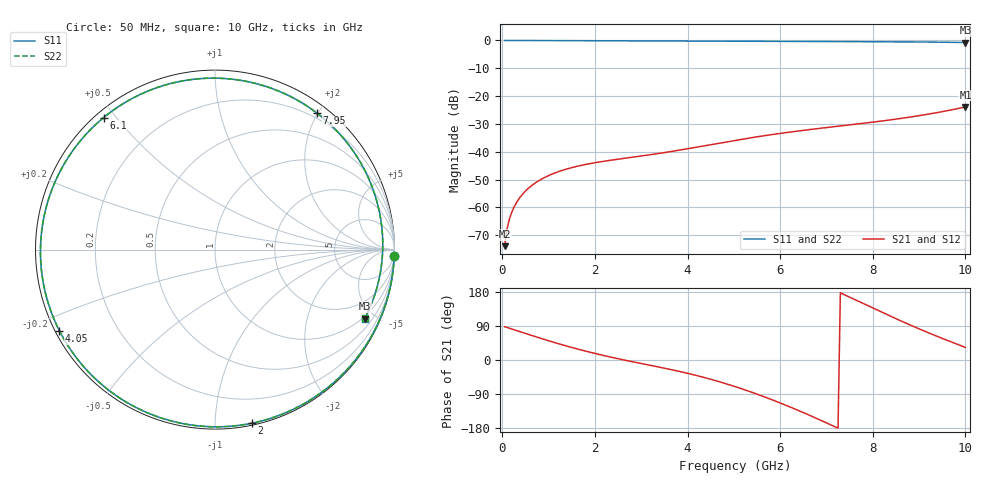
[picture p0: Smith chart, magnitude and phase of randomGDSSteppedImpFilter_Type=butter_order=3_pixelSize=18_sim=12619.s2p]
! freq	dB(S11)	phase(S11)	dB(S12)	phase(S12)
!  dB(S21)	phase(S21)	dB(S22)	phase(S22)
!S-par simulation data
#  GHz  S  DB  R 50
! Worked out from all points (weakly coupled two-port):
!   200 points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, 50 MHz to 10 GHz, reference 50 ohm
!   highest |S21| = -23.91 dB at 10 GHz (marker M1); lowest = -74.0 dB at 50 MHz (marker M2)
!   lowest |S11| = -0.7 dB at 10 GHz (marker M3), VSWR 23.36, Z = 45 - j219 ohm
!   |S11| at or under -10 dB: nowhere
!   |S22| runs from -0.7 to 0.0 dB; largest |S21 - S12| = 0
!   S11 on the Smith chart (normalised r, x): 50 MHz: 1, -56; 2 GHz: 0.01, -1.23; 4.05 GHz: 0.01, -0.25; 6.1 GHz: 0.02, +0.46; 7.95 GHz: 0.13, +1.99; 10 GHz: 0.90, -4.39
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0.05  -0.00 -2.0  -73.96 87.8  -73.96 87.8  -0.00 -2.0
0.1  -0.01 -4.0  -67.96 85.9  -67.96 85.9  -0.01 -4.0
0.2  -0.01 -8.1  -61.96 81.9  -61.96 81.9  -0.01 -8.1
0.35  -0.02 -14.1  -57.16 75.9  -57.16 75.9  -0.02 -14.1
0.5  -0.02 -20.0  -54.14 69.9  -54.14 69.9  -0.02 -20.0
1  -0.05 -39.8  -48.58 50.8  -48.58 50.8  -0.05 -39.8
1.75  -0.09 -68.7  -44.75 25.0  -44.75 25.0  -0.09 -68.7
2  -0.10 -78.1  -43.96 17.3  -43.96 17.3  -0.10 -78.1
2.7  -0.13 -103.9  -42.23 -1.8  -42.23 -1.8  -0.13 -103.9
3.4  -0.16 -129.1  -40.58 -19.1  -40.58 -19.1  -0.16 -129.1
4.05  -0.20 -152.4  -38.79 -36.6  -38.79 -36.6  -0.20 -152.4
4.55  -0.23 -170.6  -37.31 -52.5  -37.31 -52.5  -0.23 -170.6
5.05  -0.26 170.9  -35.86 -71.1  -35.86 -71.1  -0.26 170.9
5.55  -0.29 151.9  -34.51 -92.2  -34.51 -92.2  -0.29 151.9
6.1  -0.33 130.2  -33.19 -118.2  -33.19 -118.2  -0.33 130.2
6.7  -0.37 105.7  -31.91 -149.4  -31.91 -149.4  -0.37 105.7
7.3  -0.41 80.5  -30.74 177.2  -30.74 177.2  -0.41 80.6
7.95  -0.45 53.2  -29.48 140.0  -29.48 140.0  -0.45 53.3
8.35  -0.48 36.8  -28.63 117.4  -28.63 117.4  -0.48 36.8
8.75  -0.52 20.8  -27.69 95.5  -27.69 95.5  -0.52 20.9
9.15  -0.57 5.5  -26.64 74.5  -26.64 74.5  -0.57 5.5
10  -0.74 -24.7  -23.91 33.3  -23.91 33.3  -0.74 -24.7
